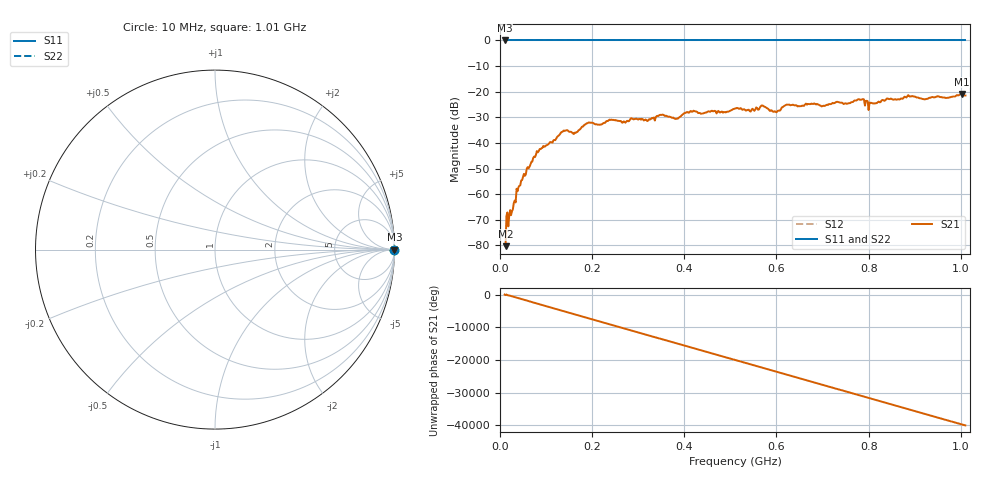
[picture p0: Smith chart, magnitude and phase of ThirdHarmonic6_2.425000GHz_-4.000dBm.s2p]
! 8/17/2025 4:09:36 AM
! C:\ANRITSUVNA\TEMP\TEMP.S2P
! CHANNEL.1
! TR.MEASUREMENT
! RAW.DATA
! RF.CORRECTION.OFF
! AVERAGING.OFF
! IF.BANDWIDTH: 5KHZ
! SWEEPTYPE:  FREQ.SWEEP(Linear)
! Reference Plane Port Info
! PORT:  PORT1  PORT2
! DISTANCE:  0  m  0  m
! TIME:  0  s  0  s
! PHASE.OFFSET:  0  deg.  0  deg.
! LOSS:  0  dB  0  dB
! REF.LOSS:  0  dB  0  dB
! REF.FREQ:  0  Hz  0  Hz
! Power Info
! POWER:  -20  dBm  -20  dBm
! EFF.POWER:  -20  dBm  -20  dBm
! SOURCE.ATTEN:  0  dB  0  dB
! TEST.ATTEN:  0  dB  0  dB
# GHZ S RI R 50.0
! FREQ.GHZ  S11RE  S11IM  S21RE  S21IM  S12RE  S12IM  S22RE  S22IM
!; PortSelection: Port_12
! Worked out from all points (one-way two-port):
!   501 points, 10 MHz to 1.01 GHz, reference 50 ohm
!   highest |S21| = -20.87 dB at 1.002 GHz (marker M1); lowest = -80.3 dB at 12 MHz (marker M2)
!   lowest |S11| = 0.0 dB at 10 MHz (marker M3)
!   |S11| at or under -10 dB: nowhere
!   |S22| runs from 0.0 to 0.0 dB; largest |S21 - S12| = 1.1
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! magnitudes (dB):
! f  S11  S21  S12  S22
! 10 MHz  0.0  -79.8  0.0  0.0
! 12 MHz  0.0  -80.3  0.0  0.0
! 18 MHz  0.0  -72.6  0.0  0.0
! 22 MHz  0.0  -66.2  0.0  0.0
! 40 MHz  0.0  -57.3  0.0  0.0
! 76 MHz  0.0  -45.5  0.0  0.0
! 136 MHz  0.0  -35.6  0.0  0.0
! 162 MHz  0.0  -36.0  0.0  0.0
! 178 MHz  0.0  -33.7  0.0  0.0
! 344 MHz  0.0  -29.5  0.0  0.0
! 382 MHz  0.0  -30.6  0.0  0.0
! 416 MHz  0.0  -27.8  0.0  0.0
! 510 MHz  0.0  -26.6  0.0  0.0
! 570 MHz  0.0  -25.4  0.0  0.0
! 596 MHz  0.0  -27.7  0.0  0.0
! 622 MHz  0.0  -25.0  0.0  0.0
! 678 MHz  0.0  -24.8  0.0  0.0
! 784 MHz  0.0  -23.1  0.0  0.0
! 804 MHz  0.0  -24.3  0.0  0.0
! 844 MHz  0.0  -22.9  0.0  0.0
! 1.002 GHz  0.0  -20.9  0.0  0.0
! 1.01 GHz  0.0  -21.5  0.0  0.0
